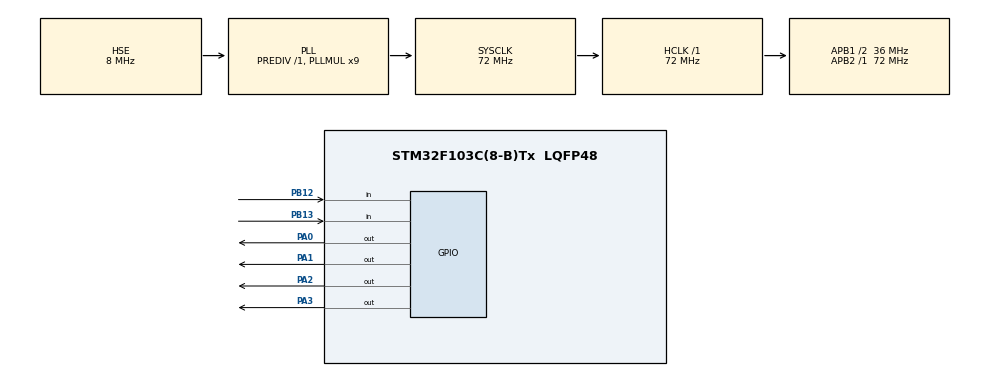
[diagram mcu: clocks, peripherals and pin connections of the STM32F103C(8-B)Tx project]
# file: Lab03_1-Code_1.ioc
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Mcu.Family=STM32F1
Mcu.Name=STM32F103C(8-B)Tx
Mcu.Package=LQFP48
NVIC.PriorityGroup=NVIC_PRIORITYGROUP_4
PA0-WKUP.PinState=GPIO_PIN_SET
PA0-WKUP.Signal=GPIO_Output
PA1.PinState=GPIO_PIN_SET
PA1.Signal=GPIO_Output
PA13.Mode=Serial_Wire
PA13.Signal=SYS_JTMS-SWDIO
PA14.Mode=Serial_Wire
PA14.Signal=SYS_JTCK-SWCLK
PA2.PinState=GPIO_PIN_SET
PA2.Signal=GPIO_Output
PA3.PinState=GPIO_PIN_SET
PA3.Signal=GPIO_Output
PB12.GPIO_PuPd=GPIO_PULLDOWN
PB12.Signal=GPIO_Input
PB13.GPIO_PuPd=GPIO_PULLDOWN
PB13.Signal=GPIO_Input
PD0-OSC_IN.Mode=HSE-External-Oscillator
PD0-OSC_IN.Signal=RCC_OSC_IN
PD1-OSC_OUT.Mode=HSE-External-Oscillator
PD1-OSC_OUT.Signal=RCC_OSC_OUT
ProjectManager.HeapSize=0x200
ProjectManager.StackSize=0x400
ProjectManager.TargetToolchain=CMake
RCC.AHBFreq_Value=72000000
RCC.APB1CLKDivider=RCC_HCLK_DIV2
RCC.APB1Freq_Value=36000000
RCC.APB1TimFreq_Value=72000000
RCC.APB2Freq_Value=72000000
RCC.APB2TimFreq_Value=72000000
RCC.HCLKFreq_Value=72000000
RCC.PLLMUL=RCC_PLL_MUL9
RCC.PLLSourceVirtual=RCC_PLLSOURCE_HSE
RCC.SYSCLKFreq_VALUE=72000000
RCC.SYSCLKSource=RCC_SYSCLKSOURCE_PLLCLK
RCC.USBFreq_Value=72000000
board=custom

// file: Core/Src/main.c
/* USER CODE BEGIN Header */
/**
  ******************************************************************************
  * @file           : main.c
  * @brief          : Main program body
  ******************************************************************************
  * @attention
  *
  * Copyright (c) 2026 STMicroelectronics.
  * All rights reserved.
  *
  * This software is licensed under terms that can be found in the LICENSE file
  * in the root directory of this software component.
  * If no LICENSE file comes with this software, it is provided AS-IS.
  *
  ******************************************************************************
  */
/* USER CODE END Header */
#include "main.h"

/* USER CODE BEGIN PV */
uint32_t count1 = 0;
uint32_t count2 = 0;
uint32_t count3 = 0;
uint32_t count4 = 0;
/* USER CODE END PV */

void SystemClock_Config(void);
static void MX_GPIO_Init(void);

int main(void)
{

  /* MCU Configuration--------------------------------------------------------*/

  /* Reset of all peripherals, Initializes the Flash interface and the Systick. */
  HAL_Init();

  /* Configure the system clock */
  SystemClock_Config();

  /* Initialize all configured peripherals */
  MX_GPIO_Init();

  /* Infinite loop */
  while (1)
  {

    /* USER CODE BEGIN 3 */
    if (HAL_GetTick() - count1 > 500)
    {
        count1 = HAL_GetTick();
        HAL_GPIO_TogglePin(GPIOA, GPIO_PIN_0);
    }
    if (HAL_GetTick() - count2 > 500)
    {
        count2 = HAL_GetTick();
        HAL_GPIO_TogglePin(GPIOA, GPIO_PIN_1);
    }
    if (HAL_GetTick() - count3 > 500)
    {
        count3 = HAL_GetTick();
        HAL_GPIO_TogglePin(GPIOA, GPIO_PIN_2);
    }
    if (HAL_GetTick() - count4 > 500)
    {
        count4 = HAL_GetTick();
        HAL_GPIO_TogglePin(GPIOA, GPIO_PIN_3);
    }
  }
  /* USER CODE END 3 */
}

void SystemClock_Config(void)
{
  RCC_OscInitTypeDef RCC_OscInitStruct = {0};
  RCC_ClkInitTypeDef RCC_ClkInitStruct = {0};

  /** Initializes the RCC Oscillators according to the specified parameters
  * in the RCC_OscInitTypeDef structure.
  */
  RCC_OscInitStruct.OscillatorType = RCC_OSCILLATORTYPE_HSE;
  RCC_OscInitStruct.HSEState = RCC_HSE_ON;
  RCC_OscInitStruct.HSEPredivValue = RCC_HSE_PREDIV_DIV1;
  RCC_OscInitStruct.HSIState = RCC_HSI_ON;
  RCC_OscInitStruct.PLL.PLLState = RCC_PLL_ON;
  RCC_OscInitStruct.PLL.PLLSource = RCC_PLLSOURCE_HSE;
  RCC_OscInitStruct.PLL.PLLMUL = RCC_PLL_MUL9;
  if (HAL_RCC_OscConfig(&RCC_OscInitStruct) != HAL_OK)
  {
    Error_Handler();
  }

  /** Initializes the CPU, AHB and APB buses clocks
  */
  RCC_ClkInitStruct.ClockType = RCC_CLOCKTYPE_HCLK|RCC_CLOCKTYPE_SYSCLK
                              |RCC_CLOCKTYPE_PCLK1|RCC_CLOCKTYPE_PCLK2;
  RCC_ClkInitStruct.SYSCLKSource = RCC_SYSCLKSOURCE_PLLCLK;
  RCC_ClkInitStruct.AHBCLKDivider = RCC_SYSCLK_DIV1;
  RCC_ClkInitStruct.APB1CLKDivider = RCC_HCLK_DIV2;
  RCC_ClkInitStruct.APB2CLKDivider = RCC_HCLK_DIV1;

  if (HAL_RCC_ClockConfig(&RCC_ClkInitStruct, FLASH_LATENCY_2) != HAL_OK)
  {
    Error_Handler();
  }
}

static void MX_GPIO_Init(void)
{
  GPIO_InitTypeDef GPIO_InitStruct = {0};

  /* GPIO Ports Clock Enable */
  __HAL_RCC_GPIOD_CLK_ENABLE();
  __HAL_RCC_GPIOA_CLK_ENABLE();
  __HAL_RCC_GPIOB_CLK_ENABLE();

  /*Configure GPIO pin Output Level */
  HAL_GPIO_WritePin(GPIOA, GPIO_PIN_0|GPIO_PIN_1|GPIO_PIN_2|GPIO_PIN_3, GPIO_PIN_SET);

  /*Configure GPIO pins : PA0 PA1 PA2 PA3 */
  GPIO_InitStruct.Pin = GPIO_PIN_0|GPIO_PIN_1|GPIO_PIN_2|GPIO_PIN_3;
  GPIO_InitStruct.Mode = GPIO_MODE_OUTPUT_PP;
  GPIO_InitStruct.Pull = GPIO_NOPULL;
  GPIO_InitStruct.Speed = GPIO_SPEED_FREQ_LOW;
  HAL_GPIO_Init(GPIOA, &GPIO_InitStruct);

  /*Configure GPIO pins : PB12 PB13 */
  GPIO_InitStruct.Pin = GPIO_PIN_12|GPIO_PIN_13;
  GPIO_InitStruct.Mode = GPIO_MODE_INPUT;
  GPIO_InitStruct.Pull = GPIO_PULLDOWN;
  HAL_GPIO_Init(GPIOB, &GPIO_InitStruct);

}

void Error_Handler(void)
{
  __disable_irq();
  while (1)
  {
  }
}
